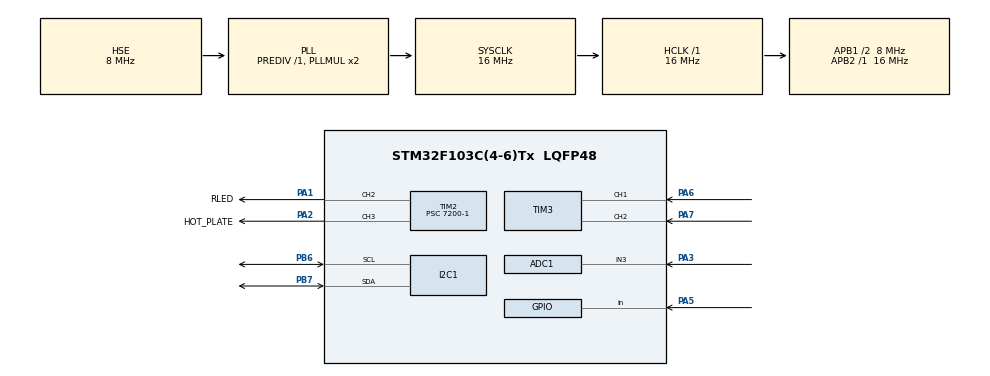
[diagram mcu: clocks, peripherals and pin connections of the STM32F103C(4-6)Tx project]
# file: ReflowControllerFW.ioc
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ADC1.Channel-0\#ChannelRegularConversion=ADC_CHANNEL_3
ADC1.NbrOfConversionFlag=1
ADC1.Rank-0\#ChannelRegularConversion=1
ADC1.SamplingTime-0\#ChannelRegularConversion=ADC_SAMPLETIME_1CYCLE_5
ADC1.master=1
I2C1.I2C_Mode=I2C_Fast
Mcu.Family=STM32F1
Mcu.Name=STM32F103C(4-6)Tx
Mcu.Package=LQFP48
NVIC.PriorityGroup=NVIC_PRIORITYGROUP_4
PA1.GPIO_Label=RLED
PA1.Signal=S_TIM2_CH2
PA13.Mode=Trace_Asynchronous_SW
PA13.Signal=SYS_JTMS-SWDIO
PA14.Mode=Trace_Asynchronous_SW
PA14.Signal=SYS_JTCK-SWCLK
PA2.GPIO_Label=HOT_PLATE
PA2.Signal=S_TIM2_CH3
PA3.Signal=ADCx_IN3
PA5.GPIO_PuPd=GPIO_PULLUP
PA5.Signal=GPIO_Input
PA6.GPIO_PuPd=GPIO_PULLUP
PA6.Signal=S_TIM3_CH1
PA7.GPIO_PuPd=GPIO_PULLUP
PA7.Signal=S_TIM3_CH2
PB3.Mode=Trace_Asynchronous_SW
PB3.Signal=SYS_JTDO-TRACESWO
PB6.Mode=I2C
PB6.Signal=I2C1_SCL
PB7.Mode=I2C
PB7.Signal=I2C1_SDA
PD0-OSC_IN.Mode=HSE-External-Oscillator
PD0-OSC_IN.Signal=RCC_OSC_IN
PD1-OSC_OUT.Mode=HSE-External-Oscillator
PD1-OSC_OUT.Signal=RCC_OSC_OUT
ProjectManager.HeapSize=0x200
ProjectManager.StackSize=0x400
ProjectManager.TargetToolchain=STM32CubeIDE
RCC.AHBFreq_Value=16000000
RCC.APB1CLKDivider=RCC_HCLK_DIV2
RCC.APB1Freq_Value=8000000
RCC.APB1TimFreq_Value=16000000
RCC.APB2Freq_Value=16000000
RCC.APB2TimFreq_Value=16000000
RCC.HCLKFreq_Value=16000000
RCC.PLLSourceVirtual=RCC_PLLSOURCE_HSE
RCC.SYSCLKFreq_VALUE=16000000
RCC.SYSCLKSource=RCC_SYSCLKSOURCE_PLLCLK
RCC.USBFreq_Value=16000000
SH.ADCx_IN3.0=ADC1_IN3,IN3
SH.S_TIM2_CH2.0=TIM2_CH2,PWM Generation2 CH2
SH.S_TIM2_CH3.0=TIM2_CH3,PWM Generation3 CH3
SH.S_TIM3_CH1.0=TIM3_CH1,Encoder_Interface
SH.S_TIM3_CH2.0=TIM3_CH2,Encoder_Interface
TIM2.Channel-PWM\ Generation2\ CH2=TIM_CHANNEL_2
TIM2.Channel-PWM\ Generation3\ CH3=TIM_CHANNEL_3
TIM2.Period=100-1
TIM2.Prescaler=7200-1
TIM3.AutoReloadPreload=TIM_AUTORELOAD_PRELOAD_ENABLE
TIM3.EncoderMode=TIM_ENCODERMODE_TI12
TIM3.IC1Filter=10
VP_TIM2_VS_ClockSourceINT.Mode=Internal
board=custom

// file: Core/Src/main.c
/* USER CODE BEGIN Header */
/**
  ******************************************************************************
  * @file           : main.c
  * @brief          : Main program body
  ******************************************************************************
  * @attention
  *
  * Copyright (c) 2022 STMicroelectronics.
  * All rights reserved.
  *
  * This software is licensed under terms that can be found in the LICENSE file
  * in the root directory of this software component.
  * If no LICENSE file comes with this software, it is provided AS-IS.
  *
  ******************************************************************************
  */
/* USER CODE END Header */
#include "main.h"

/* USER CODE BEGIN Includes */
#include "PID.h"
#include "fonts.h"
#include "ssd1306.h"
#include "Encoder.h"
#include "stdbool.h"
#include "stdio.h"
/* USER CODE END Includes */

ADC_HandleTypeDef hadc1;

I2C_HandleTypeDef hi2c1;

TIM_HandleTypeDef htim2;
TIM_HandleTypeDef htim3;

void SystemClock_Config(void);
static void MX_GPIO_Init(void);
static void MX_I2C1_Init(void);
static void MX_TIM2_Init(void);
static void MX_ADC1_Init(void);
static void MX_TIM3_Init(void);

int main(void)
{

  /* MCU Configuration--------------------------------------------------------*/

  /* Reset of all peripherals, Initializes the Flash interface and the Systick. */
  HAL_Init();

  /* USER CODE BEGIN Init */
  PIDController pid;
  Profile profile;
  profile.temp1 = 150;
  profile.time1 = 60;
  profile.temp2 = 150;
  profile.time2 = 180;
  profile.temp3 = 250;
  profile.time3 = 240;
  profile.temp4 = 250;
  profile.time4 = 300;

  /*
  profile.temp1 = *(__IO int *) 0x08004410;
  profile.time1 = *(__IO int *) 0x08004414;
  profile.temp2 = *(__IO int *) 0x08004418;
  profile.time2 = *(__IO int *) 0x0800441C;
  profile.temp3 = *(__IO int *) 0x08004420;
  profile.time3 = *(__IO int *) 0x08004424;
  profile.temp4 = *(__IO int *) 0x08004428;
  profile.time4 = *(__IO int *) 0x0800442C;
  */
  Encoder encoder;
  encoder.tapped = false;
  encoder.direction = 0;
  PIDController_Init(&pid);
  /* USER CODE END Init */

  /* Configure the system clock */
  SystemClock_Config();

  /* Initialize all configured peripherals */
  MX_GPIO_Init();
  MX_I2C1_Init();
  MX_TIM2_Init();
  MX_ADC1_Init();
  MX_TIM3_Init();

  /* Infinite loop */
  /* USER CODE BEGIN WHILE */

  HAL_TIM_PWM_Start(&htim2, TIM_CHANNEL_2);
  HAL_TIM_Encoder_Start(&htim3, TIM_CHANNEL_ALL);

  SSD1306_Init();
  Select state = START;
  char string[20];
  rebuildScreen(&profile);
  SSD1306_GotoXY(92, 53);
  strncpy(string, "START", 10);
  SSD1306_DrawFilledRectangle(91, 51, 128, 64, SSD1306_COLOR_WHITE);
  SSD1306_Puts(string, &Font_7x10, SSD1306_COLOR_BLACK);

  SSD1306_DrawRectangle(47, 51, 128, 64, SSD1306_COLOR_WHITE);
  SSD1306_DrawRectangle(69, 51, 128, 64, SSD1306_COLOR_WHITE);
  SSD1306_UpdateScreen();
  while (1)
  {
	  encoder = updateEncoder();
	  switch(state){
	  case START:
		  SSD1306_GotoXY(48,53);
		  strncpy(string, "---", 8);
		  SSD1306_Puts(string, &Font_7x10, 1);
		  SSD1306_GotoXY(70,53);
		  strncpy(string, "---", 8);
		  SSD1306_Puts(string, &Font_7x10, 1);
		  SSD1306_UpdateScreen();
		 if (encoder.tapped){
			  state = CANCEL;
			  // mark start button
			  SSD1306_GotoXY(92, 53);
			  strncpy(string, "QUIT ", 10);
			  SSD1306_DrawFilledRectangle(91, 51, 128, 64, SSD1306_COLOR_WHITE);
			  SSD1306_Puts(string, &Font_7x10, SSD1306_COLOR_BLACK);
			  SSD1306_UpdateScreen();
		 }
		 else if (encoder.direction == 1){
			  state = POINT1;
			  // unmark start button
			  SSD1306_DrawLine(92, 52, 127, 52, SSD1306_COLOR_BLACK);
			}
		  else if (encoder.direction == -1){
			  state = POINT4;
			  // unmark start button
			  SSD1306_DrawLine(92, 52, 127, 52, SSD1306_COLOR_BLACK);
		  }
		  break;
	  case CANCEL:

		  if (encoder.tapped){
			  state = START;
			  // mark start button
			  SSD1306_GotoXY(92, 53);
			  strncpy(string, "START", 10);
			  SSD1306_DrawFilledRectangle(91, 51, 128, 64, SSD1306_COLOR_WHITE);
			  SSD1306_Puts(string, &Font_7x10, SSD1306_COLOR_BLACK);
			  SSD1306_UpdateScreen();
		  }
		  break;
	  case POINT1:
		  SSD1306_GotoXY(92, 53);
		  strncpy(string, " P1  ", 10);
		  SSD1306_Puts(string, &Font_7x10, SSD1306_COLOR_WHITE);
		  SSD1306_UpdateScreen();

		  if (editValues(&profile, &profile.temp1, &profile.time1, encoder.tapped, encoder.direction)){
		  }
		  else if (encoder.direction == 1){
			  state = POINT2;
		  }
		  else if (encoder.direction == -1){
			  state = START;
			  // mark start button
			  SSD1306_GotoXY(92, 53);
			  strncpy(string, "START", 10);
			  SSD1306_DrawFilledRectangle(91, 51, 128, 64, SSD1306_COLOR_WHITE);
			  SSD1306_Puts(string, &Font_7x10, SSD1306_COLOR_BLACK);
			  SSD1306_UpdateScreen();
		  }
		  break;
	  case POINT2:
		  SSD1306_GotoXY(92, 53);
		  strncpy(string, " P2  ", 10);
		  SSD1306_Puts(string, &Font_7x10, SSD1306_COLOR_WHITE);
		  SSD1306_UpdateScreen();

		  if (editValues(&profile, &profile.temp2, &profile.time2, encoder.tapped, encoder.direction)){
		  }
		  else if (encoder.direction == 1){
			  state = POINT3;
		  }
		  else if (encoder.direction == -1){
			  state = POINT1;
		  }
		  break;
	  case POINT3:
		  SSD1306_GotoXY(92, 53);
		  strncpy(string, " P3  ", 10);
		  SSD1306_Puts(string, &Font_7x10, SSD1306_COLOR_WHITE);
		  SSD1306_UpdateScreen();;

		  if (editValues(&profile, &profile.temp3, &profile.time3, encoder.tapped, encoder.direction)){
		  }
		  else if (encoder.direction == 1){
			  state = POINT4;
		  }
		  else if (encoder.direction == -1){
			  state = POINT2;
		  }
		  break;
	  case POINT4:
		  SSD1306_GotoXY(92, 53);
		  strncpy(string, " P4  ", 10);
		  SSD1306_Puts(string, &Font_7x10, SSD1306_COLOR_WHITE);
		  SSD1306_UpdateScreen();

		  if (editValues(&profile, &profile.temp4, &profile.time4, encoder.tapped, encoder.direction)){
		  }
		  else if (encoder.direction == 1){
			  state = START;
			  // mark start button
			  SSD1306_GotoXY(92, 53);
			  strncpy(string, "START", 10);
			  SSD1306_DrawFilledRectangle(91, 51, 128, 64, SSD1306_COLOR_WHITE);
			  SSD1306_Puts(string, &Font_7x10, SSD1306_COLOR_BLACK);
			  SSD1306_UpdateScreen();
		  }
		  else if (encoder.direction == -1){
			  state = POINT3;
		  }
		  break;
	  }
    /* USER CODE END WHILE */

  }
}

void SystemClock_Config(void)
{
  RCC_OscInitTypeDef RCC_OscInitStruct = {0};
  RCC_ClkInitTypeDef RCC_ClkInitStruct = {0};
  RCC_PeriphCLKInitTypeDef PeriphClkInit = {0};

  /** Initializes the RCC Oscillators according to the specified parameters
  * in the RCC_OscInitTypeDef structure.
  */
  RCC_OscInitStruct.OscillatorType = RCC_OSCILLATORTYPE_HSE;
  RCC_OscInitStruct.HSEState = RCC_HSE_ON;
  RCC_OscInitStruct.HSEPredivValue = RCC_HSE_PREDIV_DIV1;
  RCC_OscInitStruct.HSIState = RCC_HSI_ON;
  RCC_OscInitStruct.PLL.PLLState = RCC_PLL_ON;
  RCC_OscInitStruct.PLL.PLLSource = RCC_PLLSOURCE_HSE;
  RCC_OscInitStruct.PLL.PLLMUL = RCC_PLL_MUL2;
  if (HAL_RCC_OscConfig(&RCC_OscInitStruct) != HAL_OK)
  {
    Error_Handler();
  }

  /** Initializes the CPU, AHB and APB buses clocks
  */
  RCC_ClkInitStruct.ClockType = RCC_CLOCKTYPE_HCLK|RCC_CLOCKTYPE_SYSCLK
                              |RCC_CLOCKTYPE_PCLK1|RCC_CLOCKTYPE_PCLK2;
  RCC_ClkInitStruct.SYSCLKSource = RCC_SYSCLKSOURCE_PLLCLK;
  RCC_ClkInitStruct.AHBCLKDivider = RCC_SYSCLK_DIV1;
  RCC_ClkInitStruct.APB1CLKDivider = RCC_HCLK_DIV2;
  RCC_ClkInitStruct.APB2CLKDivider = RCC_HCLK_DIV1;

  if (HAL_RCC_ClockConfig(&RCC_ClkInitStruct, FLASH_LATENCY_0) != HAL_OK)
  {
    Error_Handler();
  }
  PeriphClkInit.PeriphClockSelection = RCC_PERIPHCLK_ADC;
  PeriphClkInit.AdcClockSelection = RCC_ADCPCLK2_DIV2;
  if (HAL_RCCEx_PeriphCLKConfig(&PeriphClkInit) != HAL_OK)
  {
    Error_Handler();
  }
}

static void MX_ADC1_Init(void)
{

  ADC_ChannelConfTypeDef sConfig = {0};

  /** Common config
  */
  hadc1.Instance = ADC1;
  hadc1.Init.ScanConvMode = ADC_SCAN_DISABLE;
  hadc1.Init.ContinuousConvMode = DISABLE;
  hadc1.Init.DiscontinuousConvMode = DISABLE;
  hadc1.Init.ExternalTrigConv = ADC_SOFTWARE_START;
  hadc1.Init.DataAlign = ADC_DATAALIGN_RIGHT;
  hadc1.Init.NbrOfConversion = 1;
  if (HAL_ADC_Init(&hadc1) != HAL_OK)
  {
    Error_Handler();
  }

  /** Configure Regular Channel
  */
  sConfig.Channel = ADC_CHANNEL_3;
  sConfig.Rank = ADC_REGULAR_RANK_1;
  sConfig.SamplingTime = ADC_SAMPLETIME_1CYCLE_5;
  if (HAL_ADC_ConfigChannel(&hadc1, &sConfig) != HAL_OK)
  {
    Error_Handler();
  }

}

static void MX_I2C1_Init(void)
{

  hi2c1.Instance = I2C1;
  hi2c1.Init.ClockSpeed = 400000;
  hi2c1.Init.DutyCycle = I2C_DUTYCYCLE_2;
  hi2c1.Init.OwnAddress1 = 0;
  hi2c1.Init.AddressingMode = I2C_ADDRESSINGMODE_7BIT;
  hi2c1.Init.DualAddressMode = I2C_DUALADDRESS_DISABLE;
  hi2c1.Init.OwnAddress2 = 0;
  hi2c1.Init.GeneralCallMode = I2C_GENERALCALL_DISABLE;
  hi2c1.Init.NoStretchMode = I2C_NOSTRETCH_DISABLE;
  if (HAL_I2C_Init(&hi2c1) != HAL_OK)
  {
    Error_Handler();
  }

}

static void MX_TIM2_Init(void)
{

  TIM_ClockConfigTypeDef sClockSourceConfig = {0};
  TIM_MasterConfigTypeDef sMasterConfig = {0};
  TIM_OC_InitTypeDef sConfigOC = {0};

  htim2.Instance = TIM2;
  htim2.Init.Prescaler = 7200-1;
  htim2.Init.CounterMode = TIM_COUNTERMODE_UP;
  htim2.Init.Period = 100-1;
  htim2.Init.ClockDivision = TIM_CLOCKDIVISION_DIV1;
  htim2.Init.AutoReloadPreload = TIM_AUTORELOAD_PRELOAD_DISABLE;
  if (HAL_TIM_Base_Init(&htim2) != HAL_OK)
  {
    Error_Handler();
  }
  sClockSourceConfig.ClockSource = TIM_CLOCKSOURCE_INTERNAL;
  if (HAL_TIM_ConfigClockSource(&htim2, &sClockSourceConfig) != HAL_OK)
  {
    Error_Handler();
  }
  if (HAL_TIM_PWM_Init(&htim2) != HAL_OK)
  {
    Error_Handler();
  }
  sMasterConfig.MasterOutputTrigger = TIM_TRGO_RESET;
  sMasterConfig.MasterSlaveMode = TIM_MASTERSLAVEMODE_DISABLE;
  if (HAL_TIMEx_MasterConfigSynchronization(&htim2, &sMasterConfig) != HAL_OK)
  {
    Error_Handler();
  }
  sConfigOC.OCMode = TIM_OCMODE_PWM1;
  sConfigOC.Pulse = 0;
  sConfigOC.OCPolarity = TIM_OCPOLARITY_HIGH;
  sConfigOC.OCFastMode = TIM_OCFAST_DISABLE;
  if (HAL_TIM_PWM_ConfigChannel(&htim2, &sConfigOC, TIM_CHANNEL_2) != HAL_OK)
  {
    Error_Handler();
  }
  if (HAL_TIM_PWM_ConfigChannel(&htim2, &sConfigOC, TIM_CHANNEL_3) != HAL_OK)
  {
    Error_Handler();
  }
  HAL_TIM_MspPostInit(&htim2);

}

static void MX_TIM3_Init(void)
{

  TIM_Encoder_InitTypeDef sConfig = {0};
  TIM_MasterConfigTypeDef sMasterConfig = {0};

  htim3.Instance = TIM3;
  htim3.Init.Prescaler = 0;
  htim3.Init.CounterMode = TIM_COUNTERMODE_UP;
  htim3.Init.Period = 65535;
  htim3.Init.ClockDivision = TIM_CLOCKDIVISION_DIV1;
  htim3.Init.AutoReloadPreload = TIM_AUTORELOAD_PRELOAD_ENABLE;
  sConfig.EncoderMode = TIM_ENCODERMODE_TI12;
  sConfig.IC1Polarity = TIM_ICPOLARITY_RISING;
  sConfig.IC1Selection = TIM_ICSELECTION_DIRECTTI;
  sConfig.IC1Prescaler = TIM_ICPSC_DIV1;
  sConfig.IC1Filter = 10;
  sConfig.IC2Polarity = TIM_ICPOLARITY_RISING;
  sConfig.IC2Selection = TIM_ICSELECTION_DIRECTTI;
  sConfig.IC2Prescaler = TIM_ICPSC_DIV1;
  sConfig.IC2Filter = 0;
  if (HAL_TIM_Encoder_Init(&htim3, &sConfig) != HAL_OK)
  {
    Error_Handler();
  }
  sMasterConfig.MasterOutputTrigger = TIM_TRGO_RESET;
  sMasterConfig.MasterSlaveMode = TIM_MASTERSLAVEMODE_DISABLE;
  if (HAL_TIMEx_MasterConfigSynchronization(&htim3, &sMasterConfig) != HAL_OK)
  {
    Error_Handler();
  }

}

static void MX_GPIO_Init(void)
{
  GPIO_InitTypeDef GPIO_InitStruct = {0};

  /* GPIO Ports Clock Enable */
  __HAL_RCC_GPIOD_CLK_ENABLE();
  __HAL_RCC_GPIOA_CLK_ENABLE();
  __HAL_RCC_GPIOB_CLK_ENABLE();

  /*Configure GPIO pin : PA5 */
  GPIO_InitStruct.Pin = GPIO_PIN_5;
  GPIO_InitStruct.Mode = GPIO_MODE_INPUT;
  GPIO_InitStruct.Pull = GPIO_PULLUP;
  HAL_GPIO_Init(GPIOA, &GPIO_InitStruct);

}

/* USER CODE BEGIN 4 */
void rebuildScreen(Profile *profile){

	SSD1306_Clear();
	// x axis between 0 and 540 seconds (9 minutes)
	// y axis between 0 and 250 degrees C
	// mapped temperature and time
	uint16_t mapTemp1 = 64-((64*profile->temp1)/250);
	uint16_t mapTemp2 = 64-((64*profile->temp2)/250);
	uint16_t mapTemp3 = 64-((64*profile->temp3)/250);
	uint16_t mapTemp4 = 64-((64*profile->temp4)/250);
	uint16_t mapTime1 = (128*profile->time1)/540;
	uint16_t mapTime2 = (128*profile->time2)/540;
	uint16_t mapTime3 = (128*profile->time3)/540;
	uint16_t mapTime4 = (128*profile->time4)/540;
	uint16_t finTemp = mapTime4/4;

	// reflow profile lines
	SSD1306_DrawLine(0, 59, mapTime1, mapTemp1, SSD1306_COLOR_WHITE);
	SSD1306_DrawLine(mapTime1, mapTemp1, mapTime2, mapTemp2, SSD1306_COLOR_WHITE);
	SSD1306_DrawLine(mapTime2, mapTemp2, mapTime3, mapTemp3, SSD1306_COLOR_WHITE);
	SSD1306_DrawLine(mapTime3, mapTemp3, mapTime4, mapTemp4, SSD1306_COLOR_WHITE);
	SSD1306_DrawLine(mapTime4, mapTemp4, 128, finTemp, SSD1306_COLOR_WHITE);

	// axis lines
	SSD1306_DrawLine(0, 0, 0, 64, SSD1306_COLOR_WHITE);
	SSD1306_DrawLine(0, 128, 128, 128, SSD1306_COLOR_WHITE);

	// unmark start button
	SSD1306_GotoXY(92, 53);
	SSD1306_DrawLine(92, 52, 127, 52, SSD1306_COLOR_BLACK);
	SSD1306_DrawRectangle(91, 51, 128, 64, SSD1306_COLOR_WHITE);

	SSD1306_DrawRectangle(47, 51, 128, 64, SSD1306_COLOR_WHITE);
	SSD1306_DrawRectangle(69, 51, 128, 64, SSD1306_COLOR_WHITE);
	//SSD1306_DrawLine(0, 0, profile->time1, profile->temp1, SSD1306_COLOR_WHITE);
	SSD1306_UpdateScreen();
};

bool editValues(Profile *profile, uint16_t *temp, uint16_t *time, bool button, int direction){
	static uint8_t tapCount = 0;
	static char string[10];

	if (button){
		tapCount++;
		SSD1306_GotoXY(48,53);
		SSD1306_DrawLine(49, 52, 68, 52, SSD1306_COLOR_BLACK);
		sprintf(string, "%03u", *time);
		SSD1306_Puts(string, &Font_7x10, 1);
		SSD1306_GotoXY(70,53);
		sprintf(string, "%03u", *temp);
		SSD1306_Puts(string, &Font_7x10, 1);
		SSD1306_UpdateScreen();
	}
	if (tapCount == 0){
		SSD1306_GotoXY(48,53);
		sprintf(string, "%03u", *time);
		SSD1306_Puts(string, &Font_7x10, 1);
		SSD1306_GotoXY(70,53);
		sprintf(string, "%03u", *temp);
		SSD1306_Puts(string, &Font_7x10, 1);
		SSD1306_UpdateScreen();
	}
	else if (tapCount == 1){
		*time += direction;
		SSD1306_DrawFilledRectangle(47, 51, 21, 64, SSD1306_COLOR_WHITE);
		SSD1306_GotoXY(48,53);
		sprintf(string, "%03u", *time);
		SSD1306_Puts(string, &Font_7x10, SSD1306_COLOR_BLACK);
		SSD1306_UpdateScreen();
	}
	else if (tapCount == 2){
		*temp += direction;
		SSD1306_DrawFilledRectangle(69, 51, 21, 64, SSD1306_COLOR_WHITE);
		SSD1306_GotoXY(70,53);
		sprintf(string, "%03u", *temp);
		SSD1306_Puts(string, &Font_7x10, SSD1306_COLOR_BLACK);
		SSD1306_UpdateScreen();
	}
	else if (tapCount > 2){
		tapCount = 0;
		rebuildScreen(profile);
	}
	// exit condition
	if (tapCount == 0) return false;
	else return true;
}

void reflowActive(Profile *profile, PIDController pid){
	//MEASURE OUTPUT TEMP THROUGH ADC

	//UPDATE PID CONTROLLER AND OUTPUT

	// IF A SECOND HAS PASSED UPDATE DISPLAY WITH OUTPUT TEMP AND TIME
}
/* USER CODE END 4 */

void Error_Handler(void)
{
  __disable_irq();
  while (1)
  {
  }
}
